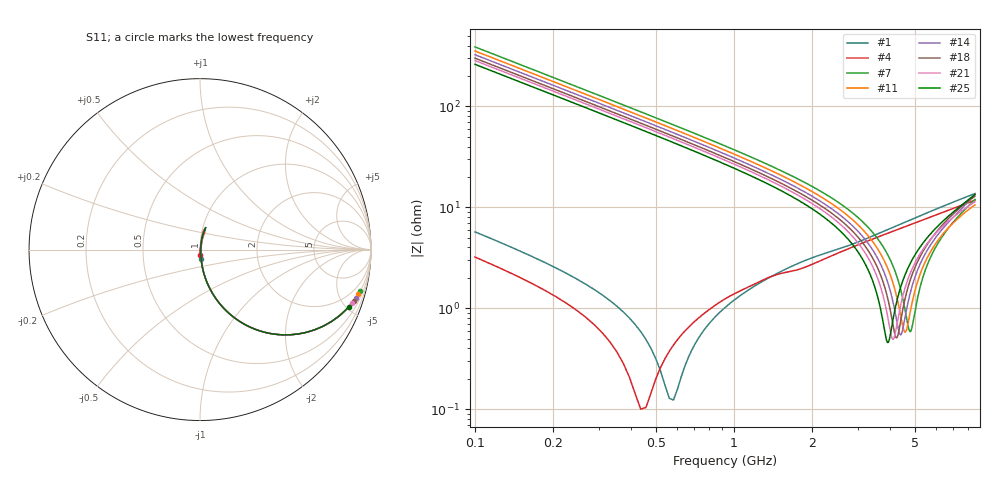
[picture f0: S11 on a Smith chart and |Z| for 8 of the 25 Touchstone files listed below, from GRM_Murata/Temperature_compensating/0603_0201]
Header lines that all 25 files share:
!These Parameters are Measured in Series Mode Connection
!Data Generated on Mar 30, 2021
!  o--ll--o
!Port1  Port2
!  o------o
!Operation Temp=25[degC], DC Bias Voltage=0[V]
!Freq. Start=100[MHz] Stop=9[GHz] 401[Steps]
# Hz S RI R 50
!Freq.(Hz) S11(Real) S11(Imag) S21(Real) S21(Imag) S12(Real) S12(Imag) S22(Real) S22(Imag)
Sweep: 100 MHz to 8.5 GHz
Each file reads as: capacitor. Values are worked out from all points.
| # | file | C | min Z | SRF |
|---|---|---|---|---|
| 1 | GRM0332C1E271GA01.s2p | 270 pF | 123 mohm | 575.7 MHz |
| 2 | GRM0332C1E331GA01.s2p | 330 pF | 120 mohm | 531.1 MHz |
| 3 | GRM0332C1E391GA01.s2p | 390 pF | 110 mohm | 486.4 MHz |
| 4 | GRM0332C1E471JA01.s2p | 470 pF | 100 mohm | 445.7 MHz |
| 5 | GRM0332C1E681JA01.s2p | 680 pF | 88.9 mohm | 382.9 MHz |
| 6 | GRM0332C1E821GA01.s2p | 820 pF | 78.1 mohm | 356.8 MHz |
| 7 | GRM0332C1H4R1CA01.s2p | 4.1 pF | 587 mohm | 4.785 GHz |
| 8 | GRM0332C1H4R2WA01.s2p | 4.2 pF | 580 mohm | 4.73 GHz |
| 9 | GRM0332C1H4R3WA01.s2p | 4.3 pF | 573 mohm | 4.676 GHz |
| 10 | GRM0332C1H4R4CA01.s2p | 4.4 pF | 587 mohm | 4.626 GHz |
| 11 | GRM0332C1H4R5BA01.s2p | 4.5 pF | 580 mohm | 4.575 GHz |
| 12 | GRM0332C1H4R6BA01.s2p | 4.6 pF | 573 mohm | 4.526 GHz |
| 13 | GRM0332C1H4R7CA01.s2p | 4.7 pF | 556 mohm | 4.483 GHz |
| 14 | GRM0332C1H4R9WA01.s2p | 4.9 pF | 546 mohm | 4.393 GHz |
| 15 | GRM0332C1H5R0WA01.s2p | 5 pF | 527 mohm | 4.368 GHz |
| 16 | GRM0332C1H5R1CA01.s2p | 5.1 pF | 521 mohm | 4.329 GHz |
| 17 | GRM0332C1H5R2CA01.s2p | 5.2 pF | 515 mohm | 4.291 GHz |
| 18 | GRM0332C1H5R3CA01.s2p | 5.3 pF | 509 mohm | 4.237 GHz |
| 19 | GRM0332C1H5R4CA01.s2p | 5.4 pF | 504 mohm | 4.199 GHz |
| 20 | GRM0332C1H5R5CA01.s2p | 5.5 pF | 500 mohm | 4.162 GHz |
| 21 | GRM0332C1H5R6DA01.s2p | 5.6 pF | 494 mohm | 4.109 GHz |
| 22 | GRM0332C1H5R7WA01.s2p | 5.7 pF | 487 mohm | 4.073 GHz |
| 23 | GRM0332C1H5R8WA01.s2p | 5.8 pF | 482 mohm | 4.038 GHz |
| 24 | GRM0332C1H5R9CA01.s2p | 5.9 pF | 463 mohm | 3.986 GHz |
| 25 | GRM0332C1H6R1BA01.s2p | 6.1 pF | 457 mohm | 3.921 GHz |
